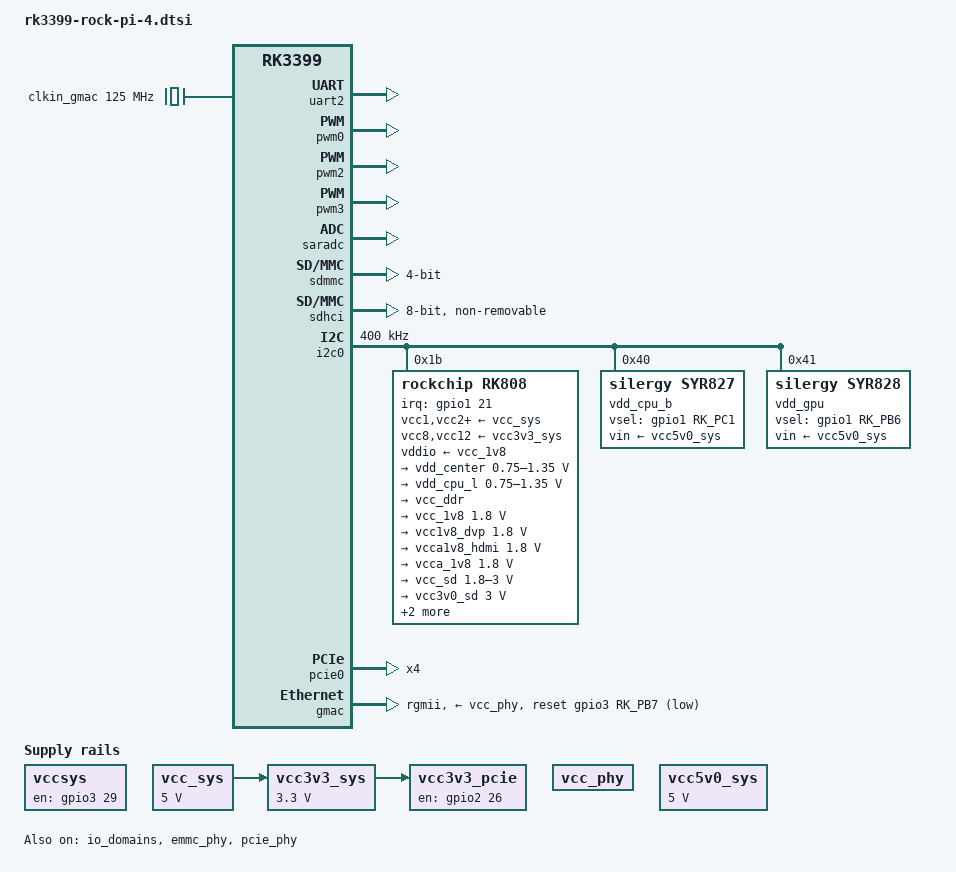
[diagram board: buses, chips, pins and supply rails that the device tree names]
/*
 * (C) Copyright 2016 Rockchip Electronics Co., Ltd
 *
 * SPDX-License-Identifier:     GPL-2.0+
 */

/dts-v1/;
#include <dt-bindings/pwm/pwm.h>
#include <dt-bindings/pinctrl/rockchip.h>
#include "rk3399.dtsi"
#include "rk3399-sdram-lpddr3-4GB-1600.dtsi"
#include "rk3399-u-boot.dtsi"
#include <linux/media-bus-format.h>
#include <dt-bindings/input/input.h>
#include "rockchip-pinconf.dtsi"

/ {
	vccsys: vccsys {
		compatible = "regulator-fixed";
		regulator-name = "vccsys";
		enable-active-high;
		gpio = <&gpio3 29 GPIO_ACTIVE_HIGH>;
		regulator-boot-on;
		regulator-always-on;
	};

	vcc_sys: vcc-sys {
		compatible = "regulator-fixed";
		regulator-name = "vcc_sys";
		regulator-min-microvolt = <5000000>;
		regulator-max-microvolt = <5000000>;
		regulator-always-on;
	};

	vcc3v3_sys: vcc3v3-sys {
		compatible = "regulator-fixed";
		regulator-name = "vcc3v3_sys";
		regulator-min-microvolt = <3300000>;
		regulator-max-microvolt = <3300000>;
		regulator-always-on;
		vin-supply = <&vcc_sys>;
	};

	vcc3v3_pcie: vcc3v3-pcie-regulator {
		compatible = "regulator-fixed";
		enable-active-high;
		gpio = <&gpio2 26 GPIO_ACTIVE_HIGH>;
		pinctrl-0 = <&pcie_drv>;
		regulator-boot-on;
		regulator-always-on;
		regulator-name = "vcc3v3_pcie";
		vin-supply = <&vcc3v3_sys>;
	};

	vcc_phy: vcc-phy-regulator {
		compatible = "regulator-fixed";
		regulator-name = "vcc_phy";
		regulator-always-on;
		regulator-boot-on;
	};

	clkin_gmac: external-gmac-clock {
		compatible = "fixed-clock";
		clock-frequency = <125000000>;
		clock-output-names = "clkin_gmac";
		#clock-cells = <0>;
	};

	vcc5v0_sys: vcc5v0-sys {
		compatible = "regulator-fixed";
		regulator-name = "vcc5v0_sys";
		regulator-always-on;
		regulator-boot-on;
		regulator-min-microvolt = <5000000>;
		regulator-max-microvolt = <5000000>;
	};
};

&io_domains {
	status = "okay";
	bt656-supply = <&vcc_3v0>; /* bt656_gpio2ab_ms */
	audio-supply = <&vcc_3v0>; /* audio_gpio3d4a_ms */
	sdmmc-supply = <&vcc_sd>; /* sdmmc_gpio4b_ms */
	gpio1830-supply = <&vcc_3v0>; /* gpio1833_gpio4cd_ms */
};

&pmu_io_domains {
	status = "okay";
	pmu1830-supply = <&vcc_3v0>;
};

&uart2 {
	status = "okay";
};

&emmc_phy {
	status = "okay";
};

&pwm0 {
	status = "okay";
};

&pwm2 {
	status = "okay";
};

&pwm3 {
	status = "okay";
};

&saradc {
	status = "okay";
};

&sdmmc {
	bus-width = <4>;
	status = "okay";
};

&sdhci {
	bus-width = <8>;
	mmc-hs400-1_8v;
	mmc-hs400-enhanced-strobe;
	non-removable;
	status = "okay";
};

&i2c0 {
	status = "okay";
	clock-frequency = <400000>;
	i2c-scl-falling-time-ns = <50>;
	i2c-scl-rising-time-ns = <100>;

	rk808: pmic@1b {
		compatible = "rockchip,rk808";
		reg = <0x1b>;
		interrupt-parent = <&gpio1>;
		interrupts = <21 IRQ_TYPE_LEVEL_LOW>;
		pinctrl-names = "default";
		pinctrl-0 = <&pmic_int_l>;
		rockchip,system-power-controller;
		wakeup-source;
		#clock-cells = <1>;
		clock-output-names = "xin32k", "rk808-clkout2";

		vcc1-supply = <&vcc_sys>;
		vcc2-supply = <&vcc_sys>;
		vcc3-supply = <&vcc_sys>;
		vcc4-supply = <&vcc_sys>;
		vcc6-supply = <&vcc_sys>;
		vcc7-supply = <&vcc_sys>;
		vcc8-supply = <&vcc3v3_sys>;
		vcc9-supply = <&vcc_sys>;
		vcc10-supply = <&vcc_sys>;
		vcc11-supply = <&vcc_sys>;
		vcc12-supply = <&vcc3v3_sys>;
		vddio-supply = <&vcc_1v8>;

		regulators {
			vdd_center: DCDC_REG1 {
				regulator-name = "vdd_center";
				regulator-min-microvolt = <750000>;
				regulator-max-microvolt = <1350000>;
				regulator-ramp-delay = <6001>;
				regulator-always-on;
				regulator-boot-on;
				regulator-state-mem {
					regulator-off-in-suspend;
				};
			};

			vdd_cpu_l: DCDC_REG2 {
				regulator-name = "vdd_cpu_l";
				regulator-min-microvolt = <750000>;
				regulator-max-microvolt = <1350000>;
				regulator-ramp-delay = <6001>;
				regulator-always-on;
				regulator-boot-on;
				regulator-state-mem {
					regulator-off-in-suspend;
				};
			};

			vcc_ddr: DCDC_REG3 {
				regulator-name = "vcc_ddr";
				regulator-always-on;
				regulator-boot-on;
				regulator-state-mem {
					regulator-on-in-suspend;
				};
			};

			vcc_1v8: DCDC_REG4 {
				regulator-name = "vcc_1v8";
				regulator-min-microvolt = <1800000>;
				regulator-max-microvolt = <1800000>;
				regulator-always-on;
				regulator-boot-on;
				regulator-state-mem {
					regulator-on-in-suspend;
					regulator-suspend-microvolt = <1800000>;
				};
			};

			vcc1v8_dvp: LDO_REG1 {
				regulator-name = "vcc1v8_codec";
				regulator-min-microvolt = <1800000>;
				regulator-max-microvolt = <1800000>;
				regulator-always-on;
				regulator-boot-on;
				regulator-state-mem {
					regulator-on-in-suspend;
					regulator-suspend-microvolt = <1800000>;
				};
			};

			vcca1v8_hdmi: LDO_REG2 {
				regulator-name = "vcca1v8_hdmi";
				regulator-min-microvolt = <1800000>;
				regulator-max-microvolt = <1800000>;
				regulator-always-on;
				regulator-boot-on;
				regulator-state-mem {
					regulator-on-in-suspend;
					regulator-suspend-microvolt = <1800000>;
				};
			};

			vcca_1v8: LDO_REG3 {
				regulator-name = "vcca_1v8";
				regulator-min-microvolt = <1800000>;
				regulator-max-microvolt = <1800000>;
				regulator-always-on;
				regulator-boot-on;
				regulator-state-mem {
					regulator-on-in-suspend;
					regulator-suspend-microvolt = <1800000>;
				};
			};

			vcc_sd: LDO_REG4 {
				regulator-name = "vcc_sd";
				regulator-min-microvolt = <1800000>;
				regulator-max-microvolt = <3000000>;
				regulator-always-on;
				regulator-boot-on;
				regulator-state-mem {
					regulator-on-in-suspend;
					regulator-suspend-microvolt = <3000000>;
				};
			};

			vcc3v0_sd: LDO_REG5 {
				regulator-name = "vcc3v0_sd";
				regulator-min-microvolt = <3000000>;
				regulator-max-microvolt = <3000000>;
				regulator-always-on;
				regulator-boot-on;
				regulator-state-mem {
					regulator-on-in-suspend;
					regulator-suspend-microvolt = <3000000>;
				};
			};

			vcc_1v5: LDO_REG6 {
				regulator-name = "vcc_1v5";
				regulator-min-microvolt = <1500000>;
				regulator-max-microvolt = <1500000>;
				regulator-always-on;
				regulator-boot-on;
				regulator-state-mem {
					regulator-on-in-suspend;
					regulator-suspend-microvolt = <1500000>;
				};
			};

			vcca0v9_hdmi: LDO_REG7 {
				regulator-name = "vcca0v9_hdmi";
				regulator-min-microvolt = <900000>;
				regulator-max-microvolt = <900000>;
				regulator-always-on;
				regulator-boot-on;
				regulator-state-mem {
					regulator-on-in-suspend;
					regulator-suspend-microvolt = <900000>;
				};
			};

			vcc_3v0: LDO_REG8 {
				regulator-name = "vcc_3v0";
				regulator-min-microvolt = <3000000>;
				regulator-max-microvolt = <3000000>;
				regulator-always-on;
				regulator-boot-on;
				regulator-state-mem {
					regulator-on-in-suspend;
					regulator-suspend-microvolt = <3000000>;
				};
			};

			vcc3v3_s3: SWITCH_REG1 {
				regulator-name = "vcc3v3_s3";
				regulator-always-on;
				regulator-boot-on;
				regulator-state-mem {
					regulator-on-in-suspend;
				};
			};

			vcc3v3_s0: SWITCH_REG2 {
				regulator-name = "vcc3v3_s0";
				regulator-always-on;
				regulator-boot-on;
				regulator-state-mem {
					regulator-on-in-suspend;
				};
			};
		};
	};

	vdd_cpu_b: syr827@40 {
		compatible = "silergy,syr827";
		reg = <0x40>;
		regulator-compatible = "fan53555-reg";
		pinctrl-0 = <&vsel1_gpio>;
		vsel-gpios = <&gpio1 RK_PC1 GPIO_ACTIVE_HIGH>;
		regulator-name = "vdd_cpu_b";
		regulator-min-microvolt = <712500>;
		regulator-max-microvolt = <1500000>;
		regulator-ramp-delay = <1000>;
		fcs,suspend-voltage-selector = <1>;
		regulator-always-on;
		regulator-boot-on;
		vin-supply = <&vcc5v0_sys>;
		regulator-state-mem {
			regulator-off-in-suspend;
		};
	};

	vdd_gpu: syr828@41 {
		compatible = "silergy,syr828";
		reg = <0x41>;
		regulator-compatible = "fan53555-reg";
		pinctrl-0 = <&vsel2_gpio>;
		vsel-gpios = <&gpio1 RK_PB6 GPIO_ACTIVE_HIGH>;
		regulator-name = "vdd_gpu";
		regulator-min-microvolt = <712500>;
		regulator-max-microvolt = <1500000>;
		regulator-ramp-delay = <1000>;
		fcs,suspend-voltage-selector = <1>;
		regulator-always-on;
		regulator-boot-on;
		vin-supply = <&vcc5v0_sys>;
		regulator-initial-mode = <1>; /* 1:force PWM 2:auto */
		regulator-state-mem {
			regulator-off-in-suspend;
		};
	};
};

&pcie_phy {
	status = "okay";
};

&pcie0 {
	ep-gpios = <&gpio4 27 GPIO_ACTIVE_HIGH>;
	num-lanes = <4>;
	pinctrl-names = "default";
	pinctrl-0 = <&pcie_clkreqnb_cpm>;
	status = "okay";
};

&pinctrl {
	pmic {
		pmic_int_l: pmic-int-l {
			rockchip,pins =
				<1 21 RK_FUNC_GPIO &pcfg_pull_up>;
		};

		pmic_dvs2: pmic-dvs2 {
			rockchip,pins =
				<1 18 RK_FUNC_GPIO &pcfg_pull_down>;
		};

		vsel1_gpio: vsel1-gpio {
			rockchip,pins =
				<1 RK_PC1 0 &pcfg_pull_down>;
		};

		vsel2_gpio: vsel2-gpio {
			rockchip,pins =
				<1 RK_PB6 0 &pcfg_pull_down>;
		};
	};

	pcie {
		pcie_drv: pcie-drv {
			rockchip,pins =
				<2 26 RK_FUNC_GPIO &pcfg_pull_up>;
		//		<4 27 RK_FUNC_GPIO &pcfg_pull_up>;
		};
	};
};

&gmac {
	phy-supply = <&vcc_phy>;
	phy-mode = "rgmii";
	clock_in_out = "input";
	snps,reset-gpio = <&gpio3 RK_PB7 GPIO_ACTIVE_LOW>;
	snps,reset-active-low;
	snps,reset-delays-us = <0 10000 50000>;
	assigned-clocks = <&cru SCLK_RMII_SRC>;
	assigned-clock-parents = <&clkin_gmac>;
	pinctrl-names = "default";
	pinctrl-0 = <&rgmii_pins>;
	tx_delay = <0x28>;
	rx_delay = <0x11>;
	status = "okay";
};

